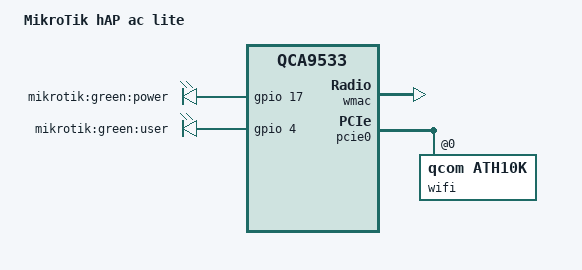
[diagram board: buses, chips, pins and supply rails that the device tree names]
// SPDX-License-Identifier: GPL-2.0-or-later OR MIT
/dts-v1/;

#include "qca9533_mikrotik_16mb.dtsi"

/ {
	compatible = "mikrotik,routerboard-952ui-5ac2nd", "qca,qca9533";
	model = "MikroTik hAP ac lite";

	leds {
		compatible = "gpio-leds";
		pinctrl-names = "default";
		pinctrl-0 = <&led_wan_pin>;

		power {
			label = "mikrotik:green:power";
			gpios = <&gpio 17 GPIO_ACTIVE_HIGH>;
			default-state = "on";
		};

		led_user: user {
			label = "mikrotik:green:user";
			gpios = <&gpio 4 GPIO_ACTIVE_HIGH>;
		};
	};
};

&pinmux {
	led_wan_pin: pinmux_led_wan_pin {
		pinctrl-single,bits = <0x4 0x0 0xff>;
	};
};

&wmac {
	status = "okay";

	qca,no-eeprom;
};

&pcie0 {
	status = "okay";

	wifi@0,0 {
		compatible = "qcom,ath10k";
	reg = <0 0 0 0 0>;
	};
};
